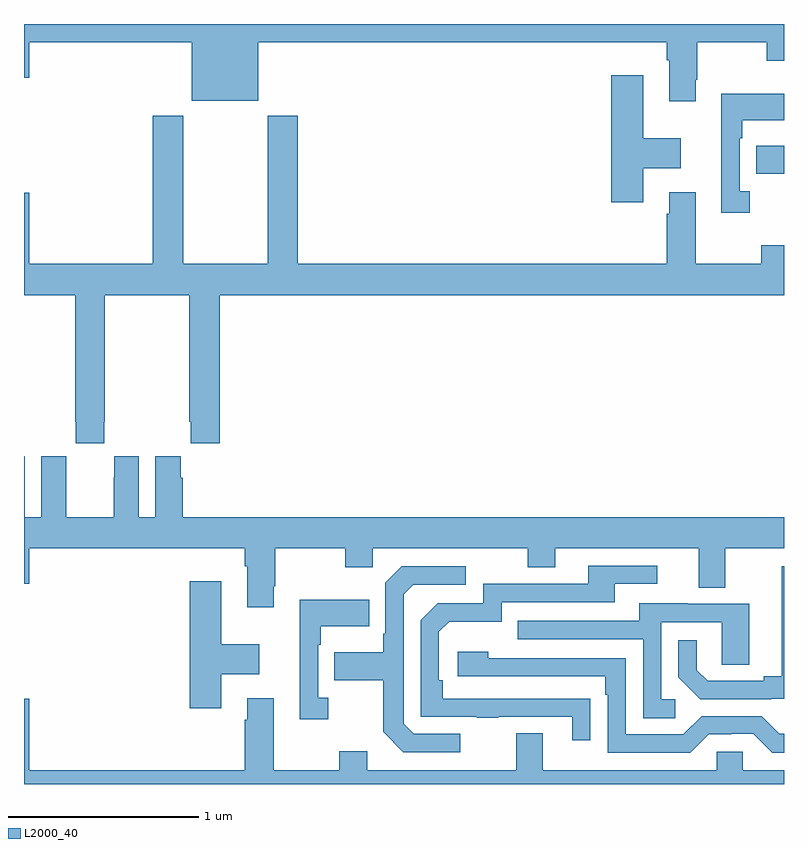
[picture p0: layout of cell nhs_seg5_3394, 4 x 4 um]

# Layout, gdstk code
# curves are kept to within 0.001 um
import gdstk
lib = gdstk.Library(unit=1e-6, precision=1e-09)
def R(c, l, rs):  # rectangles x0, y0, x1, y1
    for r in rs: c.add(gdstk.rectangle(r[:2], r[2:], *l))
def P(c, l, *ps):  # polygons
    for p in ps: c.add(gdstk.Polygon(p, *l))
L2000_40 = (2000, 40)

nhs_seg5_3394 = lib.new_cell('nhs_seg5_3394')
R(nhs_seg5_3394, L2000_40, [(312.853,912.01,313,912.157)])
P(nhs_seg5_3394, L2000_40, [(309,912.516),(309.028,912.516),(309.028,912.704),(309.884,912.704),(309.884,912.395),(310.234,912.395),(310.234,912.704),(312.383,912.704),(312.383,912.608),(312.395,912.608),(312.395,912.393),(312.535,912.393),(312.535,912.505),(312.543,912.505),(312.543,912.704),(312.91,912.704),(312.91,912.605),(313,912.605),(313,912.799),(309,912.799)],
  [(312.259,912.041),(312.457,912.041),(312.457,912.199),(312.259,912.199),(312.259,912.529),(312.092,912.529),(312.092,911.862),(312.259,911.862)],
  [(312.82,911.918),(312.768,911.918),(312.768,912.197),(312.781,912.197),(312.781,912.293),(313,912.293),(313,912.433),(312.671,912.433),(312.671,911.805),(312.82,911.805)],
  [(309.423,910.705),(309.426,910.705),(309.426,911.372),(309.871,911.372),(309.871,910.705),(309.877,910.705),(309.877,910.593),(310.031,910.593),(310.031,911.372),(313,911.372),(313,911.635),(312.88,911.635),(312.88,911.536),(312.535,911.536),(312.535,911.914),(312.395,911.914),(312.395,911.801),(312.383,911.801),(312.383,911.536),(310.442,911.536),(310.442,912.316),(310.282,912.316),(310.282,911.536),(309.837,911.536),(309.837,912.316),(309.677,912.316),(309.677,911.536),(309.028,911.536),(309.028,911.911),(309,911.911),(309,911.372),(309.271,911.372),(309.271,910.705),(309.273,910.705),(309.273,910.593),(309.423,910.593)],
  [(310.315,909.841),(310.323,909.841),(310.323,910.04),(310.69,910.04),(310.69,909.941),(310.836,909.941),(310.836,910.04),(311.65,910.04),(311.65,909.941),(311.797,909.941),(311.797,910.04),(312.551,910.04),(312.551,909.832),(312.691,909.832),(312.691,910.04),(313,910.04),(313,910.204),(309.836,910.204),(309.836,910.412),(309.826,910.412),(309.826,910.525),(309.692,910.525),(309.692,910.204),(309.604,910.204),(309.604,910.525),(309.474,910.525),(309.474,910.412),(309.473,910.412),(309.473,910.204),(309.223,910.204),(309.223,910.412),(309.222,910.412),(309.222,910.525),(309.092,910.525),(309.092,910.204),(309.004,910.204),(309.004,910.525),(309,910.525),(309,909.852),(309.028,909.852),(309.028,910.04),(310.163,910.04),(310.163,909.944),(310.175,909.944),(310.175,909.729),(310.315,909.729)],
  [(311.981,909.248),(311.204,909.249),(311.204,909.346),(311.184,909.346),(311.184,909.6),(311.237,909.653),(311.514,909.653),(311.514,909.756),(312.109,909.756),(312.109,909.852),(312.334,909.852),(312.334,909.948),(311.969,909.948),(311.969,909.852),(311.418,909.852),(311.418,909.75),(311.178,909.75),(311.088,909.66),(311.088,909.153),(311.383,909.153),(311.383,909.148),(311.495,909.148),(311.495,909.153),(311.885,909.153),(311.885,909.03),(311.981,909.03)],
  [(312.932,909.249),(313,909.249),(313,909.945),(312.989,909.945),(312.989,909.365),(312.893,909.365),(312.893,909.342),(312.598,909.342),(312.541,909.399),(312.541,909.556),(312.444,909.556),(312.444,909.362),(312.56,909.246),(312.932,909.246)],
  [(311.296,909.063),(311.052,909.063),(310.998,909.117),(310.998,909.798),(311.049,909.849),(311.326,909.849),(311.326,909.945),(310.989,909.945),(310.902,909.858),(310.902,909.589),(310.89,909.589),(310.89,909.493),(310.633,909.493),(310.633,909.346),(310.89,909.346),(310.89,909.073),(310.995,908.967),(311.296,908.967)],
  [(310.039,909.377),(310.237,909.377),(310.237,909.535),(310.039,909.535),(310.039,909.865),(309.872,909.865),(309.872,909.198),(310.039,909.198)],
  [(310.6,909.254),(310.548,909.254),(310.548,909.533),(310.561,909.533),(310.561,909.629),(310.817,909.629),(310.817,909.769),(310.451,909.769),(310.451,909.141),(310.6,909.141)],
  [(312.427,909.246),(312.354,909.246),(312.354,909.651),(312.672,909.651),(312.672,909.427),(312.817,909.427),(312.817,909.747),(312.493,909.747),(312.493,909.751),(312.239,909.751),(312.239,909.657),(311.599,909.657),(311.599,909.561),(312.258,909.561),(312.258,909.145),(312.427,909.145)],
  [(313,909.063),(312.975,909.063),(312.882,909.156),(312.567,909.156),(312.471,909.06),(312.168,909.06),(312.168,909.462),(311.444,909.462),(311.444,909.496),(311.283,909.496),(311.283,909.366),(312.059,909.366),(312.059,909.269),(312.072,909.269),(312.072,908.964),(312.507,908.964),(312.603,909.06),(312.722,909.06),(312.722,909.063),(312.837,909.063),(312.937,908.963),(313,908.963)],
  [(313,908.872),(312.783,908.872),(312.783,908.97),(312.645,908.97),(312.645,908.872),(311.731,908.872),(311.731,909.067),(311.591,909.067),(311.591,908.872),(310.807,908.872),(310.807,908.971),(310.66,908.971),(310.66,908.872),(310.315,908.872),(310.315,909.25),(310.175,909.25),(310.175,909.137),(310.163,909.137),(310.163,908.872),(309.028,908.872),(309.028,909.247),(309,909.247),(309,908.799),(313,908.799)])

lib.write_gds('nhs_seg5_3394.gds')
